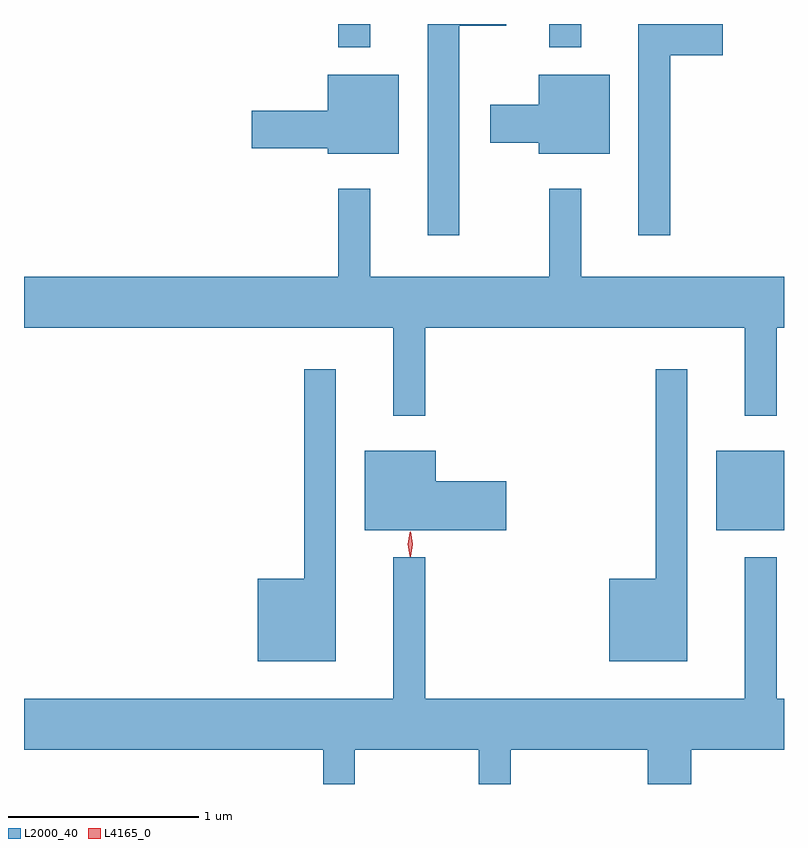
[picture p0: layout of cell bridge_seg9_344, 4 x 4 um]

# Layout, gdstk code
import gdstk
lib = gdstk.Library(unit=1e-6, precision=1e-09)
def R(c, l, rs):  # rectangles x0, y0, x1, y1
    for r in rs: c.add(gdstk.rectangle(r[:2], r[2:], *l))
def P(c, l, *ps):  # polygons
    for p in ps: c.add(gdstk.Polygon(p, *l))
L2000_40 = (2000, 40)
L4165_0 = (4165, 0)

bridge_seg9_344 = lib.new_cell('bridge_seg9_344')
R(bridge_seg9_344, L2000_40, [(766.421,1981.871,766.777,1982.289), (764.431,1984.413,764.599,1984.535), (765.541,1984.413,765.709,1984.535)])
P(bridge_seg9_344, L2000_40, [(765.069,1984.526),(765.314,1984.526),(765.314,1984.535),(764.901,1984.535),(764.901,1983.423),(765.069,1983.423)],
  [(766.179,1984.371),(766.454,1984.371),(766.454,1984.535),(766.011,1984.535),(766.011,1983.423),(766.179,1983.423)],
  [(764.749,1984.269),(764.376,1984.269),(764.376,1984.079),(763.976,1984.079),(763.976,1983.881),(764.376,1983.881),(764.376,1983.851),(764.749,1983.851)],
  [(765.859,1984.269),(765.486,1984.269),(765.486,1984.109),(765.231,1984.109),(765.231,1983.911),(765.486,1983.911),(765.486,1983.851),(765.859,1983.851)],
  [(764.889,1982.936),(766.571,1982.936),(766.571,1982.473),(766.739,1982.473),(766.739,1982.936),(766.777,1982.936),(766.777,1983.204),(765.709,1983.204),(765.709,1983.668),(765.541,1983.668),(765.541,1983.204),(764.599,1983.204),(764.599,1983.668),(764.431,1983.668),(764.431,1983.204),(762.777,1983.204),(762.777,1982.936),(764.721,1982.936),(764.721,1982.473),(764.889,1982.473)],
  [(764.419,1982.718),(764.251,1982.718),(764.251,1981.614),(764.006,1981.614),(764.006,1981.181),(764.419,1981.181)],
  [(766.269,1982.718),(766.101,1982.718),(766.101,1981.614),(765.856,1981.614),(765.856,1981.181),(766.269,1981.181)],
  [(765.314,1982.129),(764.944,1982.129),(764.944,1982.289),(764.571,1982.289),(764.571,1981.871),(765.314,1981.871)],
  [(764.519,1980.716),(765.171,1980.716),(765.171,1980.535),(765.339,1980.535),(765.339,1980.716),(766.061,1980.716),(766.061,1980.535),(766.289,1980.535),(766.289,1980.716),(766.777,1980.716),(766.777,1980.984),(766.739,1980.984),(766.739,1981.728),(766.571,1981.728),(766.571,1980.984),(764.889,1980.984),(764.889,1981.728),(764.721,1981.728),(764.721,1980.984),(762.777,1980.984),(762.777,1980.716),(764.351,1980.716),(764.351,1980.535),(764.519,1980.535)])
P(bridge_seg9_344, L4165_0, [(764.811,1981.73),(764.802,1981.798),(764.812,1981.866),(764.813,1981.866),(764.813,1981.866),(764.822,1981.798),(764.812,1981.73),(764.812,1981.73)],
  [(764.808,1981.733),(764.808,1981.733),(764.798,1981.796),(764.808,1981.859),(764.808,1981.86),(764.809,1981.859),(764.818,1981.796),(764.809,1981.733)])

lib.write_gds('bridge_seg9_344.gds')
